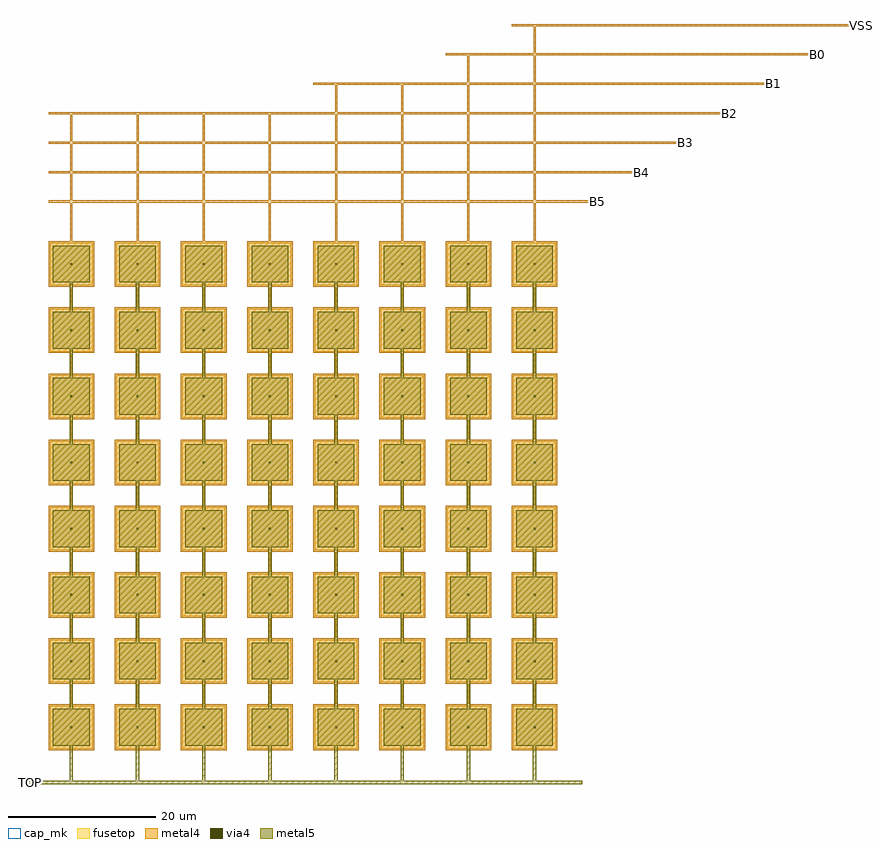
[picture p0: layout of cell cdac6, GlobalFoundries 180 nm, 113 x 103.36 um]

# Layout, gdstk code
import gdstk
lib = gdstk.Library(unit=1e-6, precision=1e-09)
def R(c, l, rs):  # rectangles x0, y0, x1, y1
    for r in rs: c.add(gdstk.rectangle(r[:2], r[2:], *l))
def A(c, l, x, y, w, h, nx, ny, dx, dy):  # array of equal rectangles
    R(c, l, [(x+i*dx, y+j*dy, x+i*dx+w, y+j*dy+h) for i in range(nx) for j in range(ny)])
via4 = (41, 0)
metal4 = (46, 0)
fusetop = (75, 0)
metal5 = (81, 0)
cap_mk = (117, 5)

cdac6 = lib.new_cell('cdac6')
A(cdac6, via4, 4.37, 4.37, 0.26, 0.26, 8, 8, 9, 9)
A(cdac6, metal4, 1.4, 1.4, 6.2, 6.2, 8, 8, 9, 9)
A(cdac6, metal4, 4.36, 1.4, 0.28, 74.74, 8, 1, 9, 0)
A(cdac6, metal4, 4.36, 10.4, 0.28, 65.74, 8, 1, 9, 0)
A(cdac6, metal4, 4.36, 19.4, 0.28, 56.74, 8, 1, 9, 0)
A(cdac6, metal4, 4.36, 28.4, 0.28, 47.74, 8, 1, 9, 0)
A(cdac6, metal4, 4.36, 37.4, 0.28, 42.74, 8, 1, 9, 0)
A(cdac6, metal4, 4.36, 46.4, 0.28, 33.74, 8, 1, 9, 0)
A(cdac6, metal4, 4.36, 55.4, 0.28, 28.74, 8, 1, 9, 0)
A(cdac6, metal4, 4.36, 64.4, 0.28, 23.74, 4, 1, 9, 0)
A(cdac6, metal4, 1.4, 75.86, 69.2, 0.28, 1, 3, 0, 4)
R(cdac6, metal4, [(40.36,64.4,40.64,92.14), (49.36,64.4,49.64,92.14), (58.36,64.4,58.64,96.14), (67.36,64.4,67.64,100.14), (70.6,75.86,75,76.14), (70.6,79.86,81,80.14), (70.6,83.86,87,84.14), (1.4,87.86,34.6,88.14), (34.6,87.86,93,88.14), (37.4,91.86,52.6,92.14), (52.6,91.86,99,92.14), (55.4,95.86,61.6,96.14), (61.6,95.86,105,96.14), (64.4,99.86,70.6,100.14), (70.6,99.86,111,100.14)])
A(cdac6, fusetop, 1.6, 1.6, 5.8, 5.8, 8, 8, 9, 9)
A(cdac6, metal5, 4.28, -3.22, 0.44, 37.22, 8, 1, 9, 0)
A(cdac6, metal5, 4.28, -3.22, 0.44, 46.22, 8, 1, 9, 0)
A(cdac6, metal5, 4.28, -3.22, 0.44, 55.22, 8, 1, 9, 0)
A(cdac6, metal5, 4.28, -3.22, 0.44, 64.22, 8, 1, 9, 0)
A(cdac6, metal5, 4.28, -3.22, 0.44, 73.22, 8, 1, 9, 0)
A(cdac6, metal5, 4.28, -3.22, 0.44, 19.22, 8, 1, 9, 0)
A(cdac6, metal5, 4.28, -3.22, 0.44, 28.22, 8, 1, 9, 0)
A(cdac6, metal5, 4.28, -3.22, 0.44, 10.22, 8, 1, 9, 0)
A(cdac6, metal5, 2, 2, 5, 5, 8, 8, 9, 9)
R(cdac6, metal5, [(-2,-3.22,74,-2.78)])
A(cdac6, cap_mk, 2, 2, 5, 5, 8, 8, 9, 9)
cdac6.add(gdstk.Label('TOP', (-1,-3), layer=81, texttype=10))
cdac6.add(gdstk.Label('B5', (76,76), layer=46, texttype=10))
cdac6.add(gdstk.Label('B4', (82,80), layer=46, texttype=10))
cdac6.add(gdstk.Label('B3', (88,84), layer=46, texttype=10))
cdac6.add(gdstk.Label('B2', (94,88), layer=46, texttype=10))
cdac6.add(gdstk.Label('B1', (100,92), layer=46, texttype=10))
cdac6.add(gdstk.Label('B0', (106,96), layer=46, texttype=10))
cdac6.add(gdstk.Label('VSS', (112,100), layer=46, texttype=10))

lib.write_gds('cdac6.gds')
